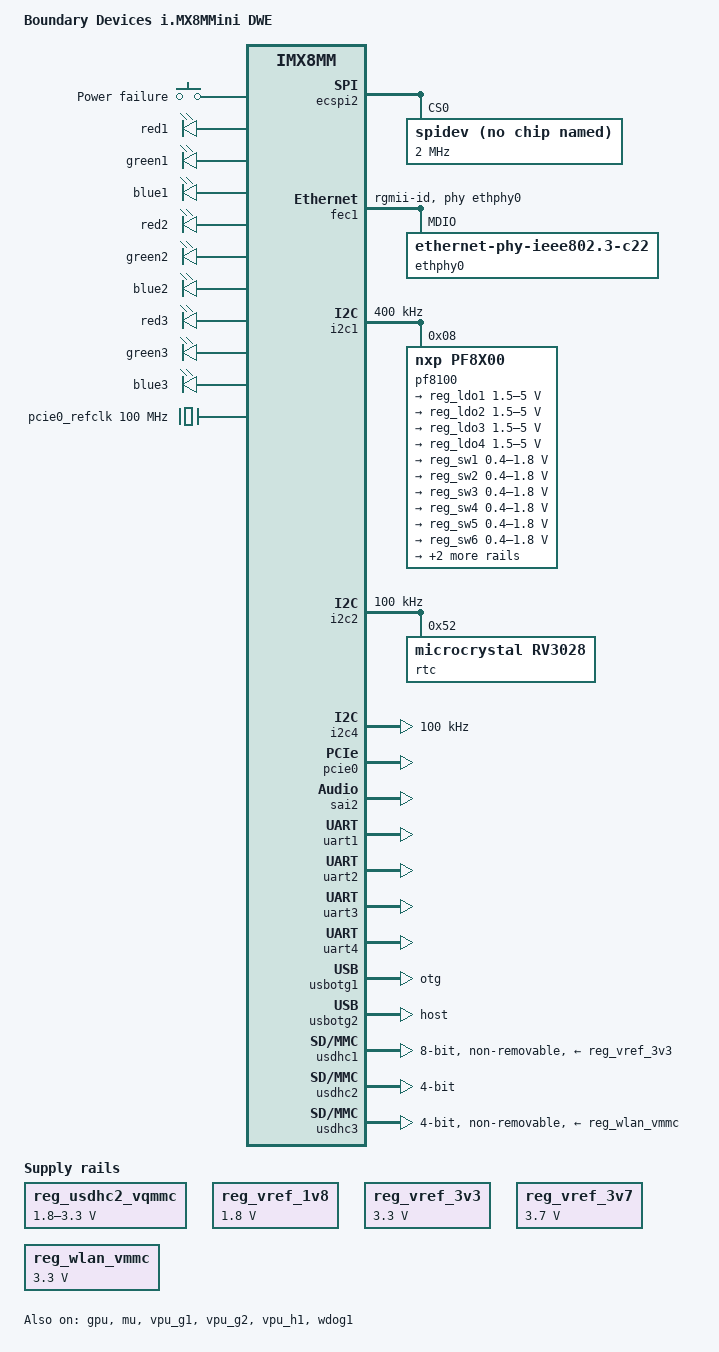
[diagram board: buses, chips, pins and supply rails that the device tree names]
// SPDX-License-Identifier: (GPL-2.0+ OR MIT)
/*
 * Copyright 2018 Boundary Devices
 */

/dts-v1/;
#define MX8MMN(a, b)	MX8MM_##a b
#define IMX8MMN(a)	IMX8MM_##a

#include "imx8mm.dtsi"

&iomuxc {
	pinctrl-names = "default";
	pinctrl-0 = <&pinctrl_hog>;

	pinctrl_bt_rfkill: bt-rfkillgrp {
		fsl,pins = <
#define GP_BT_RFKILL_RESET	<&gpio3 14 GPIO_ACTIVE_LOW>
			MX8MMN(IOMUXC_NAND_DQS_GPIO3_IO14, 0x119)
		>;
	};

	pinctrl_ecspi2: ecspi2grp {
		fsl,pins = <
			/* U29 ZGM130S037HGN1R zwave controller */
			MX8MMN(IOMUXC_ECSPI2_SCLK_ECSPI2_SCLK, 0x19)
			MX8MMN(IOMUXC_ECSPI2_MISO_ECSPI2_MISO, 0x19)
			MX8MMN(IOMUXC_ECSPI2_MOSI_ECSPI2_MOSI, 0x19)
#define GP_ECSPI2_CS0	<&gpio5 13 GPIO_ACTIVE_LOW>
			MX8MMN(IOMUXC_ECSPI2_SS0_GPIO5_IO13, 0x140)
		>;
	};

	pinctrl_fec1: fec1grp {
		fsl,pins = <
			/* PAD_CTL_ODE is screwy on 8mm mini, avoid it */
#define GP_MII_MDC	<&gpio1 16 GPIO_ACTIVE_HIGH>
			MX8MMN(IOMUXC_ENET_MDC_GPIO1_IO16, 0x00)
#define GP_MII_MDIO	<&gpio1 17 GPIO_ACTIVE_HIGH>
			MX8MMN(IOMUXC_ENET_MDIO_GPIO1_IO17, 0x00)
			MX8MMN(IOMUXC_ENET_RD0_ENET1_RGMII_RD0, 0x91)
			MX8MMN(IOMUXC_ENET_RD1_ENET1_RGMII_RD1, 0x91)
			MX8MMN(IOMUXC_ENET_RD2_ENET1_RGMII_RD2, 0x91)
			MX8MMN(IOMUXC_ENET_RD3_ENET1_RGMII_RD3, 0x91)
			MX8MMN(IOMUXC_ENET_RXC_ENET1_RGMII_RXC, 0x91)
			MX8MMN(IOMUXC_ENET_RX_CTL_ENET1_RGMII_RX_CTL, 0x91)
			MX8MMN(IOMUXC_ENET_TD0_ENET1_RGMII_TD0, 0x1f)
			MX8MMN(IOMUXC_ENET_TD1_ENET1_RGMII_TD1, 0x1f)
			MX8MMN(IOMUXC_ENET_TD2_ENET1_RGMII_TD2, 0x1f)
			MX8MMN(IOMUXC_ENET_TD3_ENET1_RGMII_TD3, 0x1f)
			MX8MMN(IOMUXC_ENET_TXC_ENET1_RGMII_TXC, 0x1f)
			MX8MMN(IOMUXC_ENET_TX_CTL_ENET1_RGMII_TX_CTL, 0x1f)
#define GP_FEC1_RESET	<&gpio3 15 GPIO_ACTIVE_LOW>
			MX8MMN(IOMUXC_NAND_RE_B_GPIO3_IO15, 0x159)
#define GPIRQ_FEC1_PHY	<&gpio3 16 IRQ_TYPE_LEVEL_LOW>
			MX8MMN(IOMUXC_NAND_READY_B_GPIO3_IO16, 0x1c0)
		>;
	};

	pinctrl_gpio_keys: gpio_keysgrp {
		fsl,pins = <
#define GP_GPIOKEY_POWER_FAIL	<&gpio1 3 GPIO_ACTIVE_HIGH>
			MX8MMN(IOMUXC_GPIO1_IO03_GPIO1_IO3, 0x00)
		>;
	};

	pinctrl_gpio_leds: gpio-ledsgrp {
		fsl,pins = <
#define GP_GPIOLEDS_RED1	<&gpio5 3 GPIO_ACTIVE_LOW>
			MX8MMN(IOMUXC_SPDIF_TX_GPIO5_IO3, 0x140)
#define GP_GPIOLEDS_GREEN1	<&gpio5 4 GPIO_ACTIVE_LOW>
			MX8MMN(IOMUXC_SPDIF_RX_GPIO5_IO4, 0x140)
#define GP_GPIOLEDS_BLUE1	<&gpio5 5 GPIO_ACTIVE_LOW>
			MX8MMN(IOMUXC_SPDIF_EXT_CLK_GPIO5_IO5, 0x140)

#define GP_GPIOLEDS_RED2	<&gpio3 25 GPIO_ACTIVE_LOW>
			MX8MMN(IOMUXC_SAI5_MCLK_GPIO3_IO25, 0x140)
#define GP_GPIOLEDS_GREEN2	<&gpio3 20 GPIO_ACTIVE_LOW>
			MX8MMN(IOMUXC_SAI5_RXC_GPIO3_IO20, 0x140)
#define GP_GPIOLEDS_BLUE2	<&gpio3 19 GPIO_ACTIVE_LOW>
			MX8MMN(IOMUXC_SAI5_RXFS_GPIO3_IO19, 0x140)

#define GP_GPIOLEDS_RED3	<&gpio3 21 GPIO_ACTIVE_LOW>
			MX8MMN(IOMUXC_SAI5_RXD0_GPIO3_IO21, 0x140)
#define GP_GPIOLEDS_GREEN3	<&gpio3 22 GPIO_ACTIVE_LOW>
			MX8MMN(IOMUXC_SAI5_RXD1_GPIO3_IO22, 0x140)
#define GP_GPIOLEDS_BLUE3	<&gpio3 23 GPIO_ACTIVE_LOW>
			MX8MMN(IOMUXC_SAI5_RXD2_GPIO3_IO23, 0x140)
                >;
        };

	pinctrl_hog: hoggrp {
		fsl,pins = <
			/* WU1: Silex, QCA 9377-3 */
			MX8MMN(IOMUXC_SAI2_RXFS_GPIO4_IO21, 0x1c0)	/* pin 8, SDIO_INT_L */
			MX8MMN(IOMUXC_SAI2_MCLK_GPIO4_IO27, 0x1c0)	/* pin 42: BT_UART_WH */
			MX8MMN(IOMUXC_SAI3_RXC_GPIO4_IO29, 0x1c0)	/* pin 38, CLK_REQ_OUT */

			/* test points */
			MX8MMN(IOMUXC_SD2_WP_GPIO2_IO20	, 0x1c0)	/* tp2 */
			MX8MMN(IOMUXC_SD2_RESET_B_GPIO2_IO19, 0x1c0)	/* tp7 */
			MX8MMN(IOMUXC_SD1_STROBE_GPIO2_IO11, 0x1c0)	/* tp9 */
			MX8MMN(IOMUXC_NAND_ALE_GPIO3_IO0, 0x1c0)	/* tp24 */
			MX8MMN(IOMUXC_NAND_DATA00_GPIO3_IO6, 0x1c0)	/* tp25 */
			MX8MMN(IOMUXC_SAI2_RXC_GPIO4_IO22, 0x1c0)	/* tp26 */
			MX8MMN(IOMUXC_SAI5_RXD3_GPIO3_IO24, 0x1c0)	/* tp27 */
			MX8MMN(IOMUXC_GPIO1_IO11_GPIO1_IO11, 0x1c0)	/* tp28 */
			MX8MMN(IOMUXC_GPIO1_IO07_GPIO1_IO7, 0x1c0)	/* tp40 */
		>;
	};

	pinctrl_i2c1: i2c1grp {
		fsl,pins = <
			MX8MMN(IOMUXC_I2C1_SCL_I2C1_SCL, 0x400001c3)
			MX8MMN(IOMUXC_I2C1_SDA_I2C1_SDA, 0x400001c3)
		>;
	};

	pinctrl_i2c1_1: i2c1_1grp {
		fsl,pins = <
#define GP_I2C1_SCL	<&gpio5 14 GPIO_OPEN_DRAIN>
			MX8MMN(IOMUXC_I2C1_SCL_GPIO5_IO14, 0x400001c3)
#define GP_I2C1_SDA	<&gpio5 15 GPIO_OPEN_DRAIN>
			MX8MMN(IOMUXC_I2C1_SDA_GPIO5_IO15, 0x400001c3)
		>;
	};

	pinctrl_i2c1_pf8100: i2c1-pf8100grp {
		fsl,pins = <
#define GP_I2C1_PF8100_EWARN	<&gpio3 3 GPIO_ACTIVE_LOW>
			MX8MMN(IOMUXC_NAND_CE2_B_GPIO3_IO3, 0x149)
#define GP_I2C1_PF8100_FAULT	<&gpio3 4 GPIO_ACTIVE_LOW>
			MX8MMN(IOMUXC_NAND_CE3_B_GPIO3_IO4, 0x149)
		>;
	};

	pinctrl_i2c2: i2c2grp {
		fsl,pins = <
			MX8MMN(IOMUXC_I2C2_SCL_I2C2_SCL, 0x400001c3)
			MX8MMN(IOMUXC_I2C2_SDA_I2C2_SDA, 0x400001c3)
		>;
	};

	pinctrl_i2c2_1: i2c2_1grp {
		fsl,pins = <
#define GP_I2C2_SCL	<&gpio5 16 GPIO_OPEN_DRAIN>
			MX8MMN(IOMUXC_I2C2_SCL_GPIO5_IO16, 0x400001c3)
#define GP_I2C2_SDA	<&gpio5 17 GPIO_OPEN_DRAIN>
			MX8MMN(IOMUXC_I2C2_SDA_GPIO5_IO17, 0x400001c3)
		>;
	};

	pinctrl_i2c2_rv3028: i2c2-rv3028grp {
		fsl,pins = <
#define GPIRQ_RV3028		<&gpio1 1 IRQ_TYPE_LEVEL_LOW>
			MX8MMN(IOMUXC_GPIO1_IO01_GPIO1_IO1, 0x1c0)
#define GP_RV3028_EVI		<&gpio1 5 GPIO_ACTIVE_HIGH>
			MX8MMN(IOMUXC_GPIO1_IO05_GPIO1_IO5, 0x140)

		>;
	};

	/* No connected to anything */
	pinctrl_i2c3: i2c3grp {
		fsl,pins = <
			MX8MMN(IOMUXC_I2C3_SCL_I2C3_SCL	, 0x400001c3)
			MX8MMN(IOMUXC_I2C3_SDA_I2C3_SDA	, 0x400001c3)
		>;
	};

	pinctrl_i2c3_1: i2c3_1grp {
		fsl,pins = <
#define GP_I2C3_SCL	<&gpio5 18 GPIO_OPEN_DRAIN>
			MX8MMN(IOMUXC_I2C3_SCL_GPIO5_IO18, 0x400001c3)
#define GP_I2C3_SDA	<&gpio5 19 GPIO_OPEN_DRAIN>
			MX8MMN(IOMUXC_I2C3_SDA_GPIO5_IO19, 0x400001c3)
		>;
	};

	/* Goes to PCIE connector */
	pinctrl_i2c4: i2c4grp {
		fsl,pins = <
			MX8MMN(IOMUXC_I2C4_SCL_I2C4_SCL, 0x400001c3)
			MX8MMN(IOMUXC_I2C4_SDA_I2C4_SDA, 0x400001c3)
		>;
	};

	pinctrl_i2c4_1: i2c4_1grp {
		fsl,pins = <
#define GP_I2C4_SCL	<&gpio5 20 GPIO_OPEN_DRAIN>
			MX8MMN(IOMUXC_I2C4_SCL_GPIO5_IO20, 0x400001c3)
#define GP_I2C4_SDA	<&gpio5 21 GPIO_OPEN_DRAIN>
			MX8MMN(IOMUXC_I2C4_SDA_GPIO5_IO21, 0x400001c3)
		>;
	};

	pinctrl_pcie0: pcie0grp {
		fsl,pins = <
#define GP_PCIE0_RESET		<&gpio4 31 GPIO_ACTIVE_LOW>
			MX8MMN(IOMUXC_SAI3_TXFS_GPIO4_IO31, 0x100)
#define GP_PCIE0_DISABLE	<&gpio1 4 GPIO_ACTIVE_LOW>
			MX8MMN(IOMUXC_GPIO1_IO04_GPIO1_IO4, 0x100)
		>;
	};

	/* For EC21-ALCC modem */
	pinctrl_reg_3p7v: reg-3p7vgrp {
		fsl,pins = <
#define GP_REG_3P7V	<&gpio5 0 GPIO_ACTIVE_HIGH>
			MX8MMN(IOMUXC_SAI3_TXC_GPIO5_IO0, 0x116)
		>;
	};

	pinctrl_reg_usdhc2_vqmmc: reg_usdhc2_vqmmcgrp {
		fsl,pins = <
#define GP_USDHC2_VSEL	<&gpio3 2 GPIO_ACTIVE_HIGH>
			MX8MMN(IOMUXC_NAND_CE1_B_GPIO3_IO2, 0x116)
		>;
	};

	pinctrl_reg_wlan_vmmc: reg-wlan-vmmcgrp {
		fsl,pins = <
#define GP_REG_WLAN_VMMC	<&gpio4 18 GPIO_ACTIVE_HIGH>
			MX8MMN(IOMUXC_SAI1_TXD6_GPIO4_IO18, 0x116)
		>;
	};

	pinctrl_sai2: sai2grp {
		fsl,pins = <
			/* Bluetooth PCM */
			MX8MMN(IOMUXC_SAI2_TXFS_SAI2_TX_SYNC, 0xd6)
			MX8MMN(IOMUXC_SAI2_TXC_SAI2_TX_BCLK, 0xd6)
			MX8MMN(IOMUXC_SAI2_TXD0_SAI2_TX_DATA0, 0xd6)
			MX8MMN(IOMUXC_SAI2_RXD0_SAI2_RX_DATA0, 0xd6)
		>;
	};

	pinctrl_uart1: uart1grp {
		fsl,pins = <
			MX8MMN(IOMUXC_UART1_RXD_UART1_DCE_RX, 0x140)
			MX8MMN(IOMUXC_UART1_TXD_UART1_DCE_TX, 0x140)
			MX8MMN(IOMUXC_UART3_RXD_UART1_DCE_CTS_B, 0x140)
			MX8MMN(IOMUXC_UART3_TXD_UART1_DCE_RTS_B, 0x140)
		>;
	};

	pinctrl_uart2: uart2grp {
		fsl,pins = <
			MX8MMN(IOMUXC_UART2_RXD_UART2_DCE_RX, 0x140)
			MX8MMN(IOMUXC_UART2_TXD_UART2_DCE_TX, 0x140)
		>;
	};

	pinctrl_uart3: uart3grp {
		fsl,pins = <
			MX8MMN(IOMUXC_ECSPI1_SCLK_UART3_DCE_RX, 0x140)
			MX8MMN(IOMUXC_ECSPI1_MOSI_UART3_DCE_TX, 0x140)
			MX8MMN(IOMUXC_ECSPI1_SS0_UART3_DCE_RTS_B, 0x140)
			MX8MMN(IOMUXC_ECSPI1_MISO_UART3_DCE_CTS_B, 0x140)
		>;
	};

	pinctrl_uart4: uart4grp {
		fsl,pins = <
			MX8MMN(IOMUXC_UART4_RXD_UART4_DCE_RX, 0x140)
			MX8MMN(IOMUXC_UART4_TXD_UART4_DCE_TX, 0x140)
		>;
	};

	pinctrl_usbotg1: usbotg1grp {
		fsl,pins = <
			MX8MMN(IOMUXC_GPIO1_IO12_USB1_OTG_PWR, 0x16)
			MX8MMN(IOMUXC_GPIO1_IO13_USB1_OTG_OC, 0x156)
		>;
	};

	pinctrl_usbotg2: usbotg2grp {
		fsl,pins = <
			MX8MMN(IOMUXC_GPIO1_IO14_USB2_OTG_PWR, 0x16)
			MX8MMN(IOMUXC_GPIO1_IO15_USB2_OTG_OC, 0x156)
		>;
	};

	pinctrl_usdhc1: usdhc1grp {
		fsl,pins = <
			MX8MMN(IOMUXC_SD1_CLK_USDHC1_CLK, 0x190)
			MX8MMN(IOMUXC_SD1_CMD_USDHC1_CMD, 0x1d0)
			MX8MMN(IOMUXC_SD1_DATA0_USDHC1_DATA0, 0x1d0)
			MX8MMN(IOMUXC_SD1_DATA1_USDHC1_DATA1, 0x1d0)
			MX8MMN(IOMUXC_SD1_DATA2_USDHC1_DATA2, 0x1d0)
			MX8MMN(IOMUXC_SD1_DATA3_USDHC1_DATA3, 0x1d0)
			MX8MMN(IOMUXC_SD1_DATA4_USDHC1_DATA4, 0x1d0)
			MX8MMN(IOMUXC_SD1_DATA5_USDHC1_DATA5, 0x1d0)
			MX8MMN(IOMUXC_SD1_DATA6_USDHC1_DATA6, 0x1d0)
			MX8MMN(IOMUXC_SD1_DATA7_USDHC1_DATA7, 0x1d0)
#define GP_EMMC_RESET		<&gpio2 10 GPIO_ACTIVE_LOW>
			MX8MMN(IOMUXC_SD1_RESET_B_GPIO2_IO10, 0x111)
		>;
	};

	pinctrl_usdhc1_100mhz: usdhc1grp100mhz {
		fsl,pins = <
			MX8MMN(IOMUXC_SD1_CLK_USDHC1_CLK, 0x194)
			MX8MMN(IOMUXC_SD1_CMD_USDHC1_CMD, 0x1d4)
			MX8MMN(IOMUXC_SD1_DATA0_USDHC1_DATA0, 0x1d4)
			MX8MMN(IOMUXC_SD1_DATA1_USDHC1_DATA1, 0x1d4)
			MX8MMN(IOMUXC_SD1_DATA2_USDHC1_DATA2, 0x1d4)
			MX8MMN(IOMUXC_SD1_DATA3_USDHC1_DATA3, 0x1d4)
			MX8MMN(IOMUXC_SD1_DATA4_USDHC1_DATA4, 0x1d4)
			MX8MMN(IOMUXC_SD1_DATA5_USDHC1_DATA5, 0x1d4)
			MX8MMN(IOMUXC_SD1_DATA6_USDHC1_DATA6, 0x1d4)
			MX8MMN(IOMUXC_SD1_DATA7_USDHC1_DATA7, 0x1d4)
		>;
	};

	pinctrl_usdhc1_200mhz: usdhc1grp200mhz {
		fsl,pins = <
			MX8MMN(IOMUXC_SD1_CLK_USDHC1_CLK, 0x196)
			MX8MMN(IOMUXC_SD1_CMD_USDHC1_CMD, 0x1d6)
			MX8MMN(IOMUXC_SD1_DATA0_USDHC1_DATA0, 0x1d6)
			MX8MMN(IOMUXC_SD1_DATA1_USDHC1_DATA1, 0x1d6)
			MX8MMN(IOMUXC_SD1_DATA2_USDHC1_DATA2, 0x1d6)
			MX8MMN(IOMUXC_SD1_DATA3_USDHC1_DATA3, 0x1d6)
			MX8MMN(IOMUXC_SD1_DATA4_USDHC1_DATA4, 0x1d6)
			MX8MMN(IOMUXC_SD1_DATA5_USDHC1_DATA5, 0x1d6)
			MX8MMN(IOMUXC_SD1_DATA6_USDHC1_DATA6, 0x1d6)
			MX8MMN(IOMUXC_SD1_DATA7_USDHC1_DATA7, 0x1d6)
		>;
	};

	pinctrl_usdhc2: usdhc2grp {
		fsl,pins = <
			MX8MMN(IOMUXC_SD2_CLK_USDHC2_CLK, 0x190)
			MX8MMN(IOMUXC_SD2_CMD_USDHC2_CMD, 0x1d0)
			MX8MMN(IOMUXC_SD2_DATA0_USDHC2_DATA0, 0x1d0)
			MX8MMN(IOMUXC_SD2_DATA1_USDHC2_DATA1, 0x1d0)
			MX8MMN(IOMUXC_SD2_DATA2_USDHC2_DATA2, 0x1d0)
			MX8MMN(IOMUXC_SD2_DATA3_USDHC2_DATA3, 0x1d0)
#define GP_USDHC2_CD	<&gpio2 12 GPIO_ACTIVE_LOW>
			MX8MMN(IOMUXC_SD2_CD_B_GPIO2_IO12, 0x1c4)
		>;
	};

	pinctrl_usdhc2_100mhz: usdhc2grp100mhz {
		fsl,pins = <
			MX8MMN(IOMUXC_SD2_CLK_USDHC2_CLK, 0x194)
			MX8MMN(IOMUXC_SD2_CMD_USDHC2_CMD, 0x1d4)
			MX8MMN(IOMUXC_SD2_DATA0_USDHC2_DATA0, 0x1d4)
			MX8MMN(IOMUXC_SD2_DATA1_USDHC2_DATA1, 0x1d4)
			MX8MMN(IOMUXC_SD2_DATA2_USDHC2_DATA2, 0x1d4)
			MX8MMN(IOMUXC_SD2_DATA3_USDHC2_DATA3, 0x1d4)
		>;
	};

	pinctrl_usdhc2_200mhz: usdhc2grp200mhz {
		fsl,pins = <
			MX8MMN(IOMUXC_SD2_CLK_USDHC2_CLK, 0x196)
			MX8MMN(IOMUXC_SD2_CMD_USDHC2_CMD, 0x1d6)
			MX8MMN(IOMUXC_SD2_DATA0_USDHC2_DATA0, 0x1d6)
			MX8MMN(IOMUXC_SD2_DATA1_USDHC2_DATA1, 0x1d6)
			MX8MMN(IOMUXC_SD2_DATA2_USDHC2_DATA2, 0x1d6)
			MX8MMN(IOMUXC_SD2_DATA3_USDHC2_DATA3, 0x1d6)
		>;
	};

	pinctrl_usdhc3: usdhc3grp {
		fsl,pins = <
			MX8MMN(IOMUXC_NAND_WE_B_USDHC3_CLK, 0x190)
			MX8MMN(IOMUXC_NAND_WP_B_USDHC3_CMD, 0x1d0)
			MX8MMN(IOMUXC_NAND_DATA04_USDHC3_DATA0, 0x1d0)
			MX8MMN(IOMUXC_NAND_DATA05_USDHC3_DATA1, 0x1d0)
			MX8MMN(IOMUXC_NAND_DATA06_USDHC3_DATA2, 0x1d0)
			MX8MMN(IOMUXC_NAND_DATA07_USDHC3_DATA3, 0x1d0)
			/* Bluetooth slow clock */
			MX8MMN(IOMUXC_GPIO1_IO00_ANAMIX_REF_CLK_32K, 0x03)
		>;
	};

	pinctrl_usdhc3_100mhz: usdhc3grp100mhz {
		fsl,pins = <
			MX8MMN(IOMUXC_NAND_WE_B_USDHC3_CLK, 0x194)
			MX8MMN(IOMUXC_NAND_WP_B_USDHC3_CMD, 0x1d4)
			MX8MMN(IOMUXC_NAND_DATA04_USDHC3_DATA0, 0x1d4)
			MX8MMN(IOMUXC_NAND_DATA05_USDHC3_DATA1, 0x1d4)
			MX8MMN(IOMUXC_NAND_DATA06_USDHC3_DATA2, 0x1d4)
			MX8MMN(IOMUXC_NAND_DATA07_USDHC3_DATA3, 0x1d4)
		>;
	};

	pinctrl_usdhc3_200mhz: usdhc3grp200mhz {
		fsl,pins = <
			MX8MMN(IOMUXC_NAND_WE_B_USDHC3_CLK, 0x196)
			MX8MMN(IOMUXC_NAND_WP_B_USDHC3_CMD, 0x1d6)
			MX8MMN(IOMUXC_NAND_DATA04_USDHC3_DATA0, 0x1d6)
			MX8MMN(IOMUXC_NAND_DATA05_USDHC3_DATA1, 0x1d6)
			MX8MMN(IOMUXC_NAND_DATA06_USDHC3_DATA2, 0x1d6)
			MX8MMN(IOMUXC_NAND_DATA07_USDHC3_DATA3, 0x1d6)
		>;
	};

	pinctrl_wdog: wdoggrp {
		fsl,pins = <
			MX8MMN(IOMUXC_GPIO1_IO02_WDOG1_WDOG_B, 0x140)
		>;
	};

	pinctrl_wwan_rfkill: wwan-rfkillgrp {
		fsl,pins = <
			/* EC21 - Modem pins */
#define GP_EC21_RESET		<&gpio4 13 (GPIO_OPEN_DRAIN | GPIO_ACTIVE_LOW)>
			MX8MMN(IOMUXC_SAI1_TXD1_GPIO4_IO13, 0x140)	/* ET_RESET_N */
#define GP_EC21_USB_BOOT	<&gpio4 15 GPIO_ACTIVE_HIGH>
			MX8MMN(IOMUXC_SAI1_TXD3_GPIO4_IO15, 0x100)	/* ET_USB_BOOT */
#define GP_EC21_POWER_KEY	<&gpio4 11 GPIO_OPEN_DRAIN>
			MX8MMN(IOMUXC_SAI1_TXC_GPIO4_IO11, 0x140)	/* ET_ON_OFF */
#define GP_EC21_USIM_DETECT	<&gpio4 12 GPIO_ACTIVE_LOW>
			MX8MMN(IOMUXC_SAI1_TXD0_GPIO4_IO12, 0x100)	/* ET_USIM_DETECT */
#define GP_EC21_WAKE_UP		<&gpio4 14 GPIO_ACTIVE_LOW>
			MX8MMN(IOMUXC_SAI1_TXD2_GPIO4_IO14, 0x100)	/* ET_WAKE_UP */
#define GP_EC21_AP_READY	<&gpio4 17 GPIO_ACTIVE_LOW>
			MX8MMN(IOMUXC_SAI1_TXD5_GPIO4_IO17, 0x100)	/* ET_AP_READY */
#define GP_EC21_ACTIVE_STATUS	<&gpio4 0 GPIO_ACTIVE_LOW>
			MX8MMN(IOMUXC_SAI1_RXFS_GPIO4_IO0, 0x1c0)	/* ET_STAT */
#define GP_EC21_NET_STAT	<&gpio4 20 GPIO_ACTIVE_HIGH>
			MX8MMN(IOMUXC_SAI1_MCLK_GPIO4_IO20, 0x80)	/* ET_NET_STAT */
#define GP_EC21_NET_MODE	<&gpio4 10 GPIO_ACTIVE_HIGH>
			MX8MMN(IOMUXC_SAI1_TXFS_GPIO4_IO10, 0x80)	/* ET_NET_MODE */
#define GP_EC21_RI		<&gpio4 16 GPIO_ACTIVE_HIGH>
			MX8MMN(IOMUXC_SAI1_TXD4_GPIO4_IO16, 0x80)	/* ET_RI */
		>;
	};

	pinctrl_zwave: zwavegrp {
		fsl,pins = <
#define GP_ZWAVE_RESET		<&gpio4 30 GPIO_ACTIVE_HIGH>
			MX8MMN(IOMUXC_SAI3_RXD_GPIO4_IO30, 0x100)
		>;
	};
};

/ {
	model = "Boundary Devices i.MX8MMini DWE";
	compatible = "boundary,imx8mm-dwe", "fsl,imx8mm";

	aliases {
		a53 = &A53_0;
	};

	bt-rfkill {
		compatible = "net,rfkill-gpio";
		pinctrl-names = "default";
		pinctrl-0 = <&pinctrl_bt_rfkill>;
		name = "bt-rfkill";
		type = <2>; /* Bluetooth */
		reset-gpios = GP_BT_RFKILL_RESET;
		status = "okay";
	};

	gpio-keys {
		compatible = "gpio-keys";
		pinctrl-names = "default";
		pinctrl-0 = <&pinctrl_gpio_keys>;

		power-fail {
			label = "Power failure";
			gpios = GP_GPIOKEY_POWER_FAIL;
			linux,code = <KEY_STOP>;
			gpio-key,wakeup;
		};
	};

	gpio_leds: leds {
		compatible = "gpio-leds";
		pinctrl-names = "default";
		pinctrl-0 = <&pinctrl_gpio_leds>;

		red1 {
			default-state = "off";
			gpios = GP_GPIOLEDS_RED1;
			retain-state-suspended;
		};

		green1 {
			default-state = "off";
			gpios = GP_GPIOLEDS_GREEN1;
			retain-state-suspended;
		};

		blue1 {
			default-state = "off";
			gpios = GP_GPIOLEDS_BLUE1;
			retain-state-suspended;
		};

		red2 {
			default-state = "off";
			gpios = GP_GPIOLEDS_RED2;
			retain-state-suspended;
		};

		green2 {
			default-state = "off";
			gpios = GP_GPIOLEDS_GREEN2;
			retain-state-suspended;
		};

		blue2 {
			default-state = "off";
			gpios = GP_GPIOLEDS_BLUE2;
			retain-state-suspended;
		};

		red3 {
			default-state = "off";
			gpios = GP_GPIOLEDS_RED3;
			retain-state-suspended;
		};

		green3 {
			default-state = "off";
			gpios = GP_GPIOLEDS_GREEN3;
			retain-state-suspended;
		};

		blue3 {
			default-state = "off";
			gpios = GP_GPIOLEDS_BLUE3;
			retain-state-suspended;
		};
	};

	pcie0_refclk: pcie0-refclk {
		compatible = "fixed-clock";
		#clock-cells = <0>;
		clock-frequency = <100000000>;
	};

	reg_usdhc2_vqmmc: regulator-usdhc2-vqmmc {
		compatible = "regulator-gpio";
		pinctrl-names = "default";
		pinctrl-0 = <&pinctrl_reg_usdhc2_vqmmc>;
		regulator-name = "reg_sd2_vsel";
		regulator-min-microvolt = <1800000>;
		regulator-max-microvolt = <3300000>;
		regulator-type = "voltage";
		regulator-boot-on;
		regulator-always-on;
		gpios = GP_USDHC2_VSEL;
		states = <1800000 0x1
			  3300000 0x0>;
	};

	reg_vref_1v8: regulator-vref-1v8 {
		compatible = "regulator-fixed";
		regulator-name = "vref-1v8";
		regulator-min-microvolt = <1800000>;
		regulator-max-microvolt = <1800000>;
	};

	reg_vref_3v3: regulator-vref-3v3 {
		compatible = "regulator-fixed";
		regulator-name = "vref-3v3";
		regulator-min-microvolt = <3300000>;
		regulator-max-microvolt = <3300000>;
	};

	reg_vref_3v7: regulator-vref-3v7 {
		compatible = "regulator-fixed";
		pinctrl-names = "default";
		pinctrl-0 = <&pinctrl_reg_3p7v>;
		regulator-name = "ec21_3v7";
		regulator-min-microvolt = <3700000>;
		regulator-max-microvolt = <3700000>;
		startup-delay-us = <60000>;
		gpio = GP_REG_3P7V;
		enable-active-high;
	};

	reg_wlan_vmmc: regulator-wlan-vmmc {
		compatible = "regulator-fixed";
		pinctrl-names = "default";
		pinctrl-0 = <&pinctrl_reg_wlan_vmmc>;
		regulator-name = "reg_wlan_vmmc";
		regulator-min-microvolt = <3300000>;
		regulator-max-microvolt = <3300000>;
		gpio = GP_REG_WLAN_VMMC;
		startup-delay-us = <70000>;
		enable-active-high;
	};

	wwan_rfkill: wwan-rfkill {
#if 0
		/* power-key is not connected, so don't use status */
		active-status-gpios = GP_EC21_ACTIVE_STATUS;
#endif
		compatible = "net,rfkill-gpio";
#if 1
		low-gpios = GP_EC21_USB_BOOT;
		high-gpios = GP_EC21_USIM_DETECT,GP_EC21_WAKE_UP,GP_EC21_AP_READY;
#else
		high-gpios = GP_EC21_USB_BOOT,GP_EC21_USIM_DETECT,GP_EC21_WAKE_UP,GP_EC21_AP_READY;
#endif
		name = "wwan-rfkill";
		pinctrl-names = "default";
		pinctrl-0 = <&pinctrl_wwan_rfkill>;
		power-key-low-off = <700>;
		power-key-low-on = <550>;
		power-key-gpios = GP_EC21_POWER_KEY;
		reset-gpios = GP_EC21_RESET;
		status = "okay";
		type = <5>;     /* WWAN */
		vdd-supply = <&reg_vref_3v7>;
		wakeup-dev = <&usbotg2>;
	};
};

&A53_0 {
	cpu-supply = <&reg_sw3>;
};

&ecspi2 {
	pinctrl-names = "default";
	pinctrl-0 = <&pinctrl_ecspi2>;
	fsl,spi-num-chipselects = <1>;
	cs-gpios = GP_ECSPI2_CS0;
	status = "okay";
	#address-cells = <1>;
	#size-cells = <0>;

	/* U29 ZGM130S037HGN1R zwave controller */
	spidev@0 {
		compatible = "spidev";
		spi-max-frequency = <2000000>;
		reg = <0>;
	};
};

&fec1 {
	mdc-gpios = GP_MII_MDC;
	mdio-gpios = GP_MII_MDIO;
	pinctrl-names = "default";
	pinctrl-0 = <&pinctrl_fec1>;
#if 0
	phy-reset-gpios = GP_FEC1_RESET;
#endif
	phy-mode = "rgmii-id";
	phy-handle = <&ethphy0>;
	fsl,magic-packet;
	status = "okay";

	mdio {
		#address-cells = <1>;
		#size-cells = <0>;

		ethphy0: ethernet-phy {
			compatible = "ethernet-phy-ieee802.3-c22";
			interrupts-extended = GPIRQ_FEC1_PHY;
			reg-mask = <0x90>;
		};
	};
};

&gpu {
	status = "okay";
};

&i2c1 {
	clock-frequency = <400000>;
	pinctrl-names = "default", "gpio";
	pinctrl-0 = <&pinctrl_i2c1>;
	pinctrl-1 = <&pinctrl_i2c1_1>;
	scl-gpios = GP_I2C1_SCL;
	sda-gpios = GP_I2C1_SDA;
	status = "okay";

	pf8100@8 {
		compatible = "nxp,pf8x00";
		pinctrl-names = "default";
		pinctrl-0 = <&pinctrl_i2c1_pf8100>;
		reg = <0x08>;

		regulators {
			reg_ldo1: ldo1 {
				regulator-always-on;
				regulator-boot-on;
				regulator-max-microvolt = <5000000>;
				regulator-min-microvolt = <1500000>;
			};

			reg_ldo2: ldo2 {
				regulator-always-on;
				regulator-boot-on;
				regulator-max-microvolt = <5000000>;
				regulator-min-microvolt = <1500000>;
				/* vselect low is 3.3V, high is 1.8V */
				vselect-en;
			};

			reg_ldo3: ldo3 {
				regulator-always-on;
				regulator-boot-on;
				regulator-max-microvolt = <5000000>;
				regulator-min-microvolt = <1500000>;
			};

			reg_ldo4: ldo4 {
				regulator-always-on;
				regulator-boot-on;
				regulator-max-microvolt = <5000000>;
				regulator-min-microvolt = <1500000>;
			};

			reg_sw1: sw1 {
				phase = <0>;
				ilim-ma = <4500>;
				regulator-always-on;
				regulator-boot-on;
				regulator-max-microvolt = <1800000>;
				regulator-min-microvolt =  <400000>;
			};

			reg_sw2: sw2 {
				regulator-always-on;
				regulator-boot-on;
				regulator-max-microvolt = <1800000>;
				regulator-min-microvolt =  <400000>;
			};

			reg_sw3: sw3 {
				regulator-always-on;
				regulator-boot-on;
				regulator-max-microvolt = <1800000>;
				regulator-min-microvolt =  <400000>;
				fast-slew = <1>;
			};

			reg_sw4: sw4 {
				regulator-always-on;
				regulator-boot-on;
				regulator-max-microvolt = <1800000>;
				regulator-min-microvolt =  <400000>;
			};

			reg_sw5: sw5 {
				regulator-always-on;
				regulator-boot-on;
				regulator-max-microvolt = <1800000>;
				regulator-min-microvolt =  <400000>;
			};

			reg_sw6: sw6 {
				regulator-always-on;
				regulator-boot-on;
				regulator-max-microvolt = <1800000>;
				regulator-min-microvolt =  <400000>;
			};

			reg_sw7: sw7 {
				regulator-always-on;
				regulator-boot-on;
				regulator-max-microvolt = <4100000>;
				regulator-min-microvolt = <1000000>;
			};

			reg_vsnvs: vsnvs {
				regulator-always-on;
				regulator-boot-on;
				regulator-max-microvolt = <3300000>;
				regulator-min-microvolt = <1800000>;
			};
		};
	};
};

&i2c2 {
	clock-frequency = <100000>;
	pinctrl-names = "default", "gpio";
	pinctrl-0 = <&pinctrl_i2c2>;
	pinctrl-1 = <&pinctrl_i2c2_1>;
	scl-gpios = GP_I2C2_SCL;
	sda-gpios = GP_I2C2_SDA;
	status = "okay";

	rtc@52 {
		backup-switchover-dsm;
		compatible = "microcrystal,rv3028";
		pinctrl-names = "default";
		pinctrl-0 = <&pinctrl_i2c2_rv3028>;
		reg = <0x52>;
		interrupts-extended = GPIRQ_RV3028;
		wakeup-source;
	};
};

&i2c3 {
	clock-frequency = <100000>;
	pinctrl-names = "default", "gpio";
	pinctrl-0 = <&pinctrl_i2c3>;
	pinctrl-1 = <&pinctrl_i2c3_1>;
	scl-gpios = GP_I2C3_SCL;
	sda-gpios = GP_I2C3_SDA;
	status = "disabled";
};

&i2c4 {
	clock-frequency = <100000>;
	pinctrl-names = "default", "gpio";
	pinctrl-0 = <&pinctrl_i2c4>;
	pinctrl-1 = <&pinctrl_i2c4_1>;
	scl-gpios = GP_I2C4_SCL;
	sda-gpios = GP_I2C4_SDA;
	status = "okay";
};

&mu {
	status = "okay";
};

&pcie0 {
	assigned-clocks = <&clk IMX8MM_CLK_PCIE1_AUX>,
			  <&clk IMX8MM_CLK_PCIE1_PHY>,
			  <&clk IMX8MM_CLK_PCIE1_CTRL>;
	assigned-clock-rates = <10000000>, <100000000>, <250000000>;
	assigned-clock-parents = <&clk IMX8MM_SYS_PLL2_50M>,
				 <&clk IMX8MM_SYS_PLL2_100M>,
				 <&clk IMX8MM_SYS_PLL2_250M>;
	clocks = <&clk IMX8MM_CLK_PCIE1_ROOT>,
		 <&clk IMX8MM_CLK_PCIE1_AUX>,
		 <&clk IMX8MM_CLK_PCIE1_PHY>,
		 <&pcie0_refclk>;
	clock-names = "pcie", "pcie_aux", "pcie_phy", "pcie_bus";
	disable-gpio = GP_PCIE0_DISABLE;
	ext_osc = <0>;
	l1ss-disabled;
	pinctrl-names = "default";
	pinctrl-0 = <&pinctrl_pcie0>;
	reset-gpio = GP_PCIE0_RESET;
	status = "okay";
};

&resmem {

	/* global autoconfigured region for contiguous allocations */
	linux,cma {
		compatible = "shared-dma-pool";
		reusable;
		size = <0 0x10000000>;
		alloc-ranges = <0 0x40000000 0 0x60000000>;
		linux,cma-default;
	};
};

&sai2 {
	pinctrl-names = "default";
	pinctrl-0 = <&pinctrl_sai2>;
	status = "okay";
};

&uart1 { /* BT */
	pinctrl-names = "default";
	pinctrl-0 = <&pinctrl_uart1>;
	assigned-clocks = <&clk IMX8MMN(CLK_UART1)>;
	assigned-clock-parents = <&clk IMX8MMN(SYS_PLL1_80M)>;
	fsl,uart-has-rtscts;
	status = "okay";
};

&uart2 { /* console */
	pinctrl-names = "default";
	pinctrl-0 = <&pinctrl_uart2>;
	assigned-clocks = <&clk IMX8MMN(CLK_UART2)>;
	assigned-clock-parents = <&clk IMX8MMN(CLK_24M)>;
	status = "okay";
};

&uart3 { /* J15 */
	pinctrl-names = "default";
	pinctrl-0 = <&pinctrl_uart3>, <&pinctrl_zwave>;
	control-gpios = GP_ZWAVE_RESET;
#define M_RESET		1
	off_levels = <0>;
	rs232_levels = <M_RESET>;
	assigned-clocks = <&clk IMX8MMN(CLK_UART3)>;
	assigned-clock-parents = <&clk IMX8MMN(SYS_PLL1_80M)>;
	fsl,uart-has-rtscts;
	status = "okay";
};

&uart4 {
	pinctrl-names = "default";
	pinctrl-0 = <&pinctrl_uart4>;
	assigned-clocks = <&clk IMX8MMN(CLK_UART4)>;
	assigned-clock-parents = <&clk IMX8MMN(CLK_24M)>;
	status = "okay";
};

&usbotg1 {
	dr_mode = "otg";
	over-current-active-low;
	pinctrl-names = "default";
	pinctrl-0 = <&pinctrl_usbotg1>;
	power-active-high;
	status = "okay";
};

&usbotg2 {
	autosuspend-delay-ms = <15000>;
	dr_mode = "host";
	over-current-active-low;
	pinctrl-names = "default";
	pinctrl-0 = <&pinctrl_usbotg2>;
	power-active-high;
	status = "okay";
};

&usdhc1 {
	bus-width = <8>;
	no-cqe;
	no-mmc-hs400;
	non-removable;
	pinctrl-names = "default", "state_100mhz", "state_200mhz";
	pinctrl-0 = <&pinctrl_usdhc1>;
	pinctrl-1 = <&pinctrl_usdhc1_100mhz>;
	pinctrl-2 = <&pinctrl_usdhc1_200mhz>;
	reset-gpios = GP_EMMC_RESET;
	status = "okay";
	vmmc-supply = <&reg_vref_3v3>;
	vqmmc-1-8-v;
	vqmmc-supply = <&reg_vref_1v8>;
};

&usdhc2 {
	bus-width = <4>;
	cd-gpios = GP_USDHC2_CD;
	pinctrl-names = "default", "state_100mhz", "state_200mhz";
	pinctrl-0 = <&pinctrl_usdhc2>;
	pinctrl-1 = <&pinctrl_usdhc2_100mhz>;
	pinctrl-2 = <&pinctrl_usdhc2_200mhz>;
	status = "okay";
	vqmmc-supply = <&reg_usdhc2_vqmmc>;
};

&usdhc3 {
	bus-width = <4>;
	no-sd-uhs-sdr104;
	pm-ignore-notify;
	keep-power-in-suspend;
	non-removable;
	pinctrl-names = "default", "state_100mhz", "state_200mhz";
	pinctrl-0 = <&pinctrl_usdhc3>;
	pinctrl-1 = <&pinctrl_usdhc3_100mhz>;
	pinctrl-2 = <&pinctrl_usdhc3_200mhz>;
	status = "okay";
	vmmc-supply = <&reg_wlan_vmmc>;
	vqmmc-1-8-v;
};

&vpu_g1 {
	status = "okay";
};

&vpu_g2 {
	status = "okay";
};

&vpu_h1 {
	status = "okay";
};

&vpumix_pd {
	dvfs-supply = <&reg_sw5>;
	idle-microvolt = <850000 805000 900000>;
};

&wdog1 {
	pinctrl-names = "default", "gpio";
	pinctrl-0 = <&pinctrl_wdog>;
	fsl,ext-reset-output;
	status = "okay";
};
